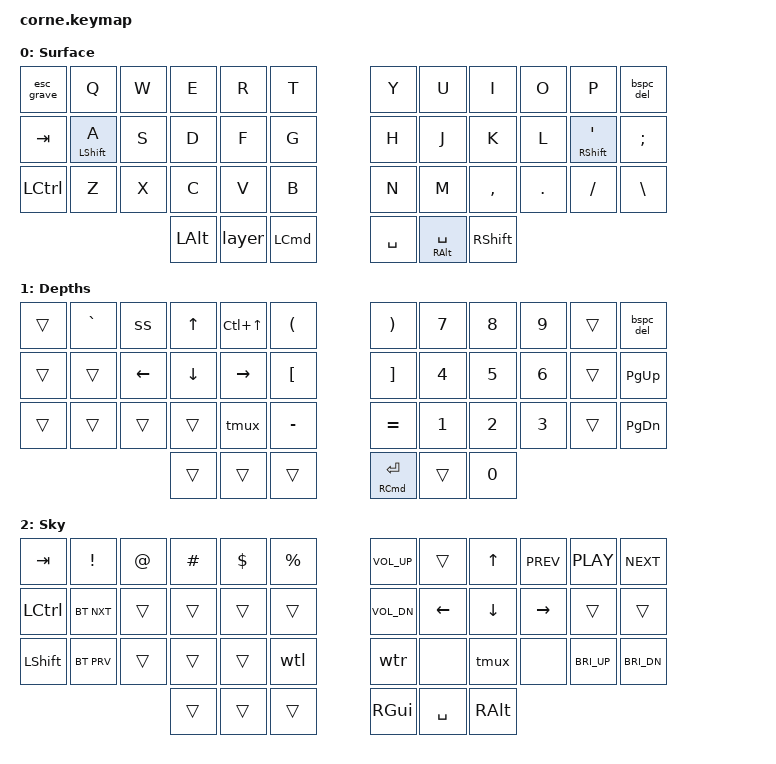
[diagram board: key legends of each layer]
/*
 * Copyright (c) 2020 The ZMK Contributors
 *
 * SPDX-License-Identifier: MIT
 */

#include <behaviors.dtsi>
#include <dt-bindings/zmk/keys.h>
#include <dt-bindings/zmk/bt.h>

#define DEFAULT 0
#define LOWER   1
#define UPPER   2

/ {
    combos {
      compatible = "zmk,combos";

      /**
      * Alternative backspace combo (20, 21)
      */
      combo_bksp {
        timeout-ms = <50>;
        key-positions = <20 21>;
        bindings = <&bspc_del>;
      };

      /**
      * Alternative tab combo (14 s, 15 d)
      */
      /*
      l_tab_key {
        timeout-ms = <50>;
        key-positions = <14 15>;
        bindings = <&kp TAB>;
      };
      */
      
      /**
      * Homerow modifier for RGUI
      */
      hrow_rgui {
        timeout-ms = <50>;
        key-positions = <19 20>;
        bindings = <&kp RGUI>;
      };


    };

    behaviors {
      /*
      td_mt: tap_dance_mod_tap {
        compatible = "zmk,behavior-tap-dance";
        label = "TAP_DANCE_MOD_TAP";
        #binding-cells = <0>;
        tapping-term-ms = <180>;
        bindings = <&lt LOWER LALT>, <&mo UPPER>;
      };
      */

      hm: homerow_mods {
        compatible = "zmk,behavior-hold-tap";
        label = "HOMEROW_MODS";
        #binding-cells = <2>;
        tapping-term-ms = <210>;
        quick-tap-ms = <10>;
        global-quick-tap;
        flavor = "tap-preferred";
        bindings = <&kp>, <&kp>;
    };
        
      layer: tap_dance_mod_layer {
        compatible = "zmk,behavior-tap-dance";
        label = "TAP_DANCE_MOD_LAYER";
        #binding-cells = <0>;
        tapping-term-ms = <300>;
        bindings = <&mo LOWER>, <&mo UPPER>;
      };

      /**
      * Converts the backspace into a delete if shift or alt is held
      */
      bspc_del: backspace_delete {
        compatible = "zmk,behavior-mod-morph";
        label = "BACKSPACE_DELETE";
        #binding-cells = <0>;
        bindings = <&kp BACKSPACE>, <&kp DELETE>;
        mods = <(MOD_LSFT|MOD_LALT)>;
      };

      /**
      * Converts the escape key into a grave when the GUI key is held
      */
      esc_grave: escape_grave {
        compatible = "zmk,behavior-mod-morph";
        label = "ESCAPE_GRAVE";
        #binding-cells = <0>;
        bindings = <&kp ESC>, <&kp GRAVE>;
        mods = <(MOD_LGUI|MOD_RGUI)>;
        keep-mods = <(MOD_LGUI|MOD_LSFT)>;
      };
    };

    macros {

      /**
      * Starts a copy-to-clipboard screenshot on macos
      */
      ss: screenshot {
        label = "mac_screenshot";
        compatible = "zmk,behavior-macro";
        #binding-cells = <0>;
        bindings = <&kp LG(LS(LC(N4)))>;
      };

      /**
      * Window tab left Cmd + Shift + [
      */
      wtl: window_tab_left {
        label = "window_tab_left";
        compatible = "zmk,behavior-macro";
        #binding-cells = <0>;
        bindings = <&kp LG(LS(LBKT))>;
      };

      /**
      * Window tab right Cmd + Shift + ]
      */
      wtr: window_tab_right {
        label = "window_tab_right";
        compatible = "zmk,behavior-macro";
        #binding-cells = <0>;
        bindings = <&kp LS(LG(RBKT))>;
      };

      /**
      * tmux shortcut
      */
      tmux: tmux {
        label = "tmux";
        compatible = "zmk,behavior-macro";
        #binding-cells = <0>;
        bindings = <&kp LC(B)>;
      };
    };

  keymap {
    compatible = "zmk,keymap";

    default_layer {
// -----------------------------------------------------------------------------------------
// | ESC |  Q  |  W  |  E  |  R  |  T  |   |  Y  |  U   |  I  |  O  |  P  | BKSP |
// | TAB |  A  |  S  |  D  |  F  |  G  |   |  H  |  J   |  K  |  L  |  '  |  ;   |
// | CTL |  Z  |  X  |  C  |  V  |  B  |   |  N  |  M   |  ,  |  .  |  /  |  \   |
//                   | ALT | LAY | CMD |   | SPC | ALT  | SHF |

                        label = "Surface";
                        bindings = <
   &esc_grave &kp Q       &kp W &kp E &kp R &kp T   &kp Y &kp U  &kp I     &kp O   &kp P           &bspc_del
   &kp TAB    &hm LSHFT A &kp S &kp D &kp F &kp G   &kp H &kp J  &kp K     &kp L   &hm RSHIFT SQT  &kp SEMI
   &kp LCTL   &kp Z       &kp X &kp C &kp V &kp B   &kp N &kp M  &kp COMMA &kp DOT &kp FSLH        &kp BSLH
                        &kp LALT &layer &kp LCMD    &kp SPACE &hm RALT SPACE &kp RSHFT
                        >;
                };

                lower_layer {
// -----------------------------------------------------------------------------------------
// |     |  `  |  SS  |  UP  |  Exp  |  (  |   |  )  |  7  |  8  |  9  |     |  DEL  |
// |     |     |  <-  |  DN  |  ->   |  [  |   |  ]  |  4  |  5  |  6  |     | PG UP |
// |     |     |      |      |  tmx  |  -  |   |  =  |  1  |  2  |  3  |     | PG DN |
//                    |      |       | SPC |   | ENT |     |  0  |

                        label = "Depths";
                        bindings = <
   &trans &kp GRAVE &ss       &kp UP   &kp LC(UP) &kp LPAR      &kp RPAR  &kp N7  &kp N8 &kp N9 &trans &bspc_del
   &trans &trans    &kp LEFT  &kp DOWN &kp RIGHT  &kp LBKT      &kp RBKT  &kp N4  &kp N5 &kp N6 &trans &kp PG_UP
   &trans &trans    &trans    &trans   &tmux      &kp MINUS     &kp EQUAL &kp N1  &kp N2 &kp N3 &trans &kp PG_DN
            	                      &trans &trans &trans      &hm RCMD RET   &trans  &kp N0
                        >;
                };

                raise_layer {
// -----------------------------------------------------------------------------------------
// |  TAB |  !  |  @  |  #  |  $  |  %  |   |     |     |  UP |    |    |    |
// | CTRL |     |     |     |     |     |   |     | <-  |  DN | -> |    |    |
// | SHFT |     |     |     |     |     |   |     |     |  tm |    |    |    |
//                    |     |     | GUI |   | GUI | SPC | ALT |
                        label = "Sky";
                        bindings = <
   &kp TAB   &kp EXCL    &kp AT &kp HASH &kp DLLR &kp PRCNT   &kp C_VOL_UP  &trans      &kp UP    &kp C_PREV &kp C_PLAY   &kp C_NEXT 
   &kp LCTRL &bt BT_NXT  &trans &trans   &trans   &trans      &kp C_VOL_DN  &kp LEFT    &kp DOWN  &kp RIGHT  &trans       &trans
   &kp LSHFT &bt BT_PRV  &trans &trans   &trans   &wtl        &wtr          &none       &tmux     &none      &kp C_BRI_UP &kp C_BRI_DN
                    	            &trans &trans &trans        &kp RGUI &kp SPACE &kp RALT
                        >;
                };
        };
};
